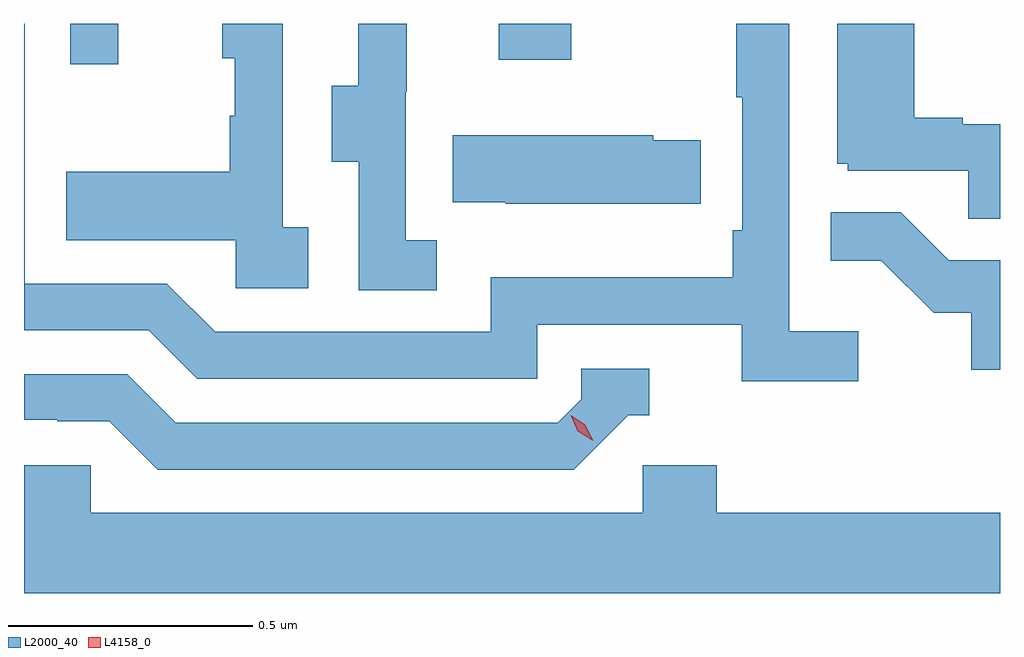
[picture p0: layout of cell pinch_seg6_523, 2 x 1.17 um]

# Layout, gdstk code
import gdstk
lib = gdstk.Library(unit=1e-6, precision=1e-09)
def R(c, l, rs):  # rectangles x0, y0, x1, y1
    for r in rs: c.add(gdstk.rectangle(r[:2], r[2:], *l))
def P(c, l, *ps):  # polygons
    for p in ps: c.add(gdstk.Polygon(p, *l))
L2000_40 = (2000, 40)
L4158_0 = (4158, 0)

pinch_seg6_523 = lib.new_cell('pinch_seg6_523')
R(pinch_seg6_523, L2000_40, [(878.169,928.44,878.267,928.522), (879.047,928.449,879.195,928.522)])
P(pinch_seg6_523, L2000_40, [(880.074,928.317),(879.998,928.317),(879.998,928.33),(879.898,928.33),(879.898,928.522),(879.74,928.522),(879.74,928.236),(879.762,928.236),(879.762,928.221),(880.009,928.221),(880.009,928.123),(880.074,928.123)],
  [(879.784,927.892),(879.642,927.892),(879.642,928.522),(879.534,928.522),(879.534,928.372),(879.546,928.372),(879.546,928.099),(879.526,928.099),(879.526,928.003),(879.03,928.003),(879.03,927.891),(878.466,927.891),(878.367,927.99),(878.076,927.99),(878.076,928.522),(878.074,928.522),(878.074,927.894),(878.33,927.894),(878.429,927.795),(879.126,927.795),(879.126,927.906),(879.545,927.906),(879.545,927.79),(879.784,927.79)],
  [(878.656,928.106),(878.604,928.106),(878.604,928.522),(878.48,928.522),(878.48,928.452),(878.506,928.452),(878.506,928.334),(878.496,928.334),(878.496,928.219),(878.161,928.219),(878.161,928.079),(878.508,928.079),(878.508,927.981),(878.656,927.981)],
  [(878.92,928.079),(878.856,928.079),(878.856,928.383),(878.858,928.383),(878.858,928.522),(878.759,928.522),(878.759,928.395),(878.705,928.395),(878.705,928.24),(878.76,928.24),(878.76,927.976),(878.92,927.976)],
  [(879.461,928.284),(879.363,928.284),(879.363,928.294),(878.953,928.294),(878.953,928.157),(879.061,928.157),(879.061,928.154),(879.461,928.154)],
  [(880.074,928.038),(879.969,928.038),(879.871,928.136),(879.727,928.136),(879.727,928.037),(879.831,928.037),(879.938,927.93),(880.015,927.93),(880.015,927.813),(880.074,927.813)],
  [(879.312,927.72),(879.355,927.72),(879.355,927.816),(879.216,927.816),(879.216,927.753),(879.168,927.705),(878.385,927.705),(878.286,927.804),(878.074,927.804),(878.074,927.711),(878.142,927.711),(878.142,927.708),(878.249,927.708),(878.348,927.609),(879.201,927.609)],
  [(880.074,927.52),(879.494,927.52),(879.494,927.618),(879.342,927.618),(879.342,927.52),(878.211,927.52),(878.211,927.618),(878.074,927.618),(878.074,927.356),(880.074,927.356)])
P(pinch_seg6_523, L4158_0, [(879.24,927.668),(879.209,927.687),(879.194,927.72),(879.194,927.72),(879.194,927.72),(879.224,927.701),(879.24,927.668),(879.24,927.668)])

lib.write_gds('pinch_seg6_523.gds')
